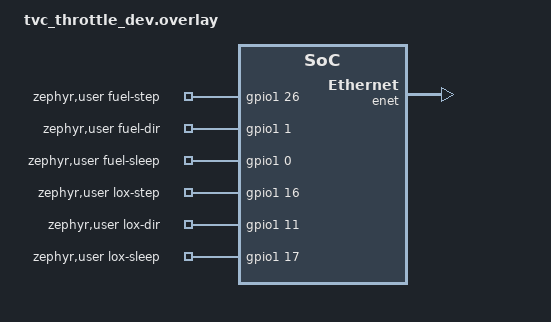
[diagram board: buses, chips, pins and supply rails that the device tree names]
/ {
    zephyr,user {
        /* FUEL Valve - added step pin to complete the set */
        fuel-step-gpios = <&gpio1 26 GPIO_ACTIVE_HIGH>;
        fuel-dir-gpios = <&gpio1 1 GPIO_ACTIVE_HIGH>;
        fuel-sleep-gpios = <&gpio1 0 GPIO_ACTIVE_HIGH>;

        /* LOX Valve */
        lox-step-gpios = <&gpio1 16 GPIO_ACTIVE_HIGH>;
        lox-dir-gpios = <&gpio1 11 GPIO_ACTIVE_HIGH>;
        lox-sleep-gpios = <&gpio1 17 GPIO_ACTIVE_HIGH>;
    };
};

&enet {
    status = "okay";
};
